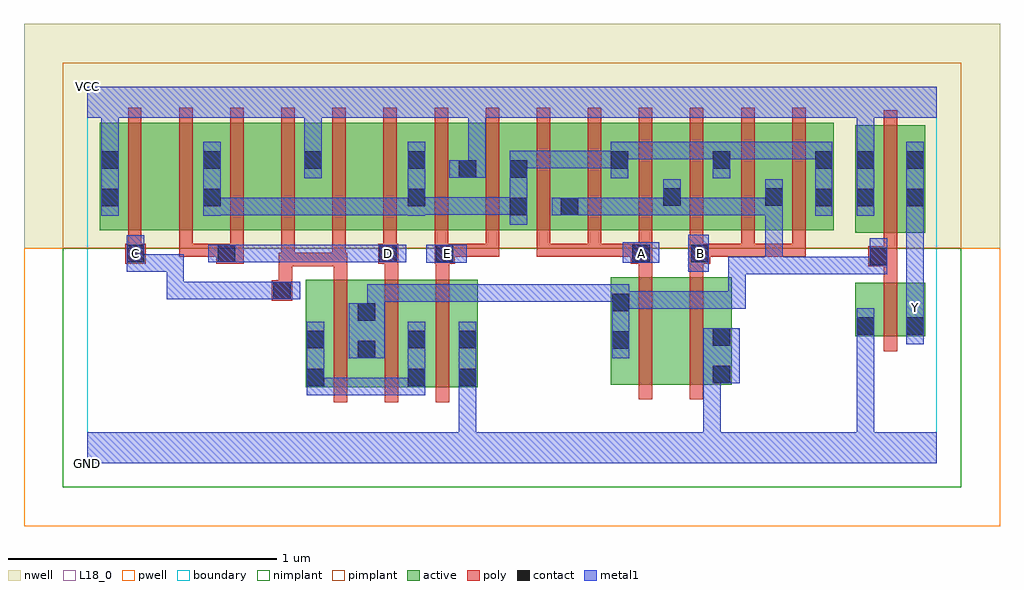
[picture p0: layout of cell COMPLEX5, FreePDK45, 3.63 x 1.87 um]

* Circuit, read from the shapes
.subckt COMPLEX5 A B C D E GND VCC Y
M1 n1 C n2 VSUBS nfet w=0.4u l=0.05u
M2 n2 D n1 VSUBS nfet w=0.4u l=0.05u
M3 GND E n2 VSUBS nfet w=0.4u l=0.05u
M4 n3 A n1 VSUBS nfet w=0.4u l=0.05u
M5 GND B n3 VSUBS nfet w=0.4u l=0.05u
M6 Y n1 GND VSUBS nfet w=0.2u l=0.05u
M7 n4 C VCC n5 pfet w=0.4u l=0.05u
M8 n6 D n4 n5 pfet w=0.4u l=0.05u
M9 n7 D n6 n5 pfet w=0.4u l=0.05u
M10 VCC C n7 n5 pfet w=0.4u l=0.05u
M11 n8 C VCC n5 pfet w=0.4u l=0.05u
M12 n6 D n8 n5 pfet w=0.4u l=0.05u
M13 VCC E n6 n5 pfet w=0.4u l=0.05u m=2
M14 n1 A n6 n5 pfet w=0.4u l=0.05u m=3
M15 n6 B n1 n5 pfet w=0.4u l=0.05u m=3
M16 Y n1 VCC n5 pfet w=0.4u l=0.05u
.ends

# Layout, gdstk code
import gdstk
lib = gdstk.Library(unit=1e-6, precision=1e-09)
def R(c, l, rs):  # rectangles x0, y0, x1, y1
    for r in rs: c.add(gdstk.rectangle(r[:2], r[2:], *l))
def A(c, l, x, y, w, h, nx, ny, dx, dy):  # array of equal rectangles
    R(c, l, [(x+i*dx, y+j*dy, x+i*dx+w, y+j*dy+h) for i in range(nx) for j in range(ny)])
active = (1, 0)
pwell = (2, 0)
nwell = (3, 0)
nimplant = (4, 0)
pimplant = (5, 0)
poly = (9, 0)
contact = (10, 0)
metal1 = (11, 0)
L18_0 = (18, 0)
boundary = (235, 0)

complex5 = lib.new_cell('COMPLEX5')
A(complex5, active, 1.187, 0.867, 0.265, 0.4, 3, 1, 0.19, 0)
A(complex5, active, 1.757, 0.867, 0.26, 0.4, 3, 1, 0.38, 0)
A(complex5, active, 1.757, 0.867, 0.075, 0.203, 3, 1, 0.38, 0)
A(complex5, active, 1.942, 0.867, 0.075, 0.333, 3, 1, 0.38, 0)
R(complex5, active, [(0.812,0.282,0.887,0.682), (0.812,0.282,1.077,0.682), (1.002,0.282,1.262,0.682), (1.187,0.282,1.452,0.682), (1.187,0.282,1.262,0.597), (1.377,0.282,1.452,0.682), (1.947,0.292,2.172,0.692), (2.172,0.292,2.397,0.692), (2.322,0.292,2.397,0.597), (1.947,0.332,2.022,0.692), (1.002,0.345,1.077,0.6), (2.857,0.472,2.932,0.672), (2.857,0.472,3.117,0.672), (3.042,0.472,3.117,0.672), (2.857,0.857,2.932,1.257), (2.857,0.857,3.117,1.257), (3.042,0.857,3.117,1.2), (0.047,0.867,0.272,1.267), (0.047,0.867,0.122,1.267), (0.272,0.867,0.502,1.267), (0.427,0.867,0.652,1.267), (0.427,0.867,0.502,1.2), (0.652,0.867,0.877,1.267), (0.802,0.867,0.877,1.267), (0.802,0.867,1.032,1.267), (1.032,0.867,1.262,1.267), (1.187,0.867,1.262,1.2), (1.377,0.867,1.452,1.267), (1.567,0.867,1.642,1.2), (1.942,0.867,2.212,1.267), (2.322,0.867,2.592,1.267)])
R(complex5, pwell, [(-0.235,-0.235,3.395,0.8)])
R(complex5, nwell, [(-0.235,0.8,3.395,1.635)])
R(complex5, nimplant, [(-0.09,-0.09,3.25,0.8)])
R(complex5, pimplant, [(-0.09,0.8,3.25,1.49)])
A(complex5, poly, 0.917, 0.227, 0.05, 0.51, 3, 1, 0.19, 0)
A(complex5, poly, 0.152, 0.767, 0.05, 0.095, 3, 1, 0.19, 0)
A(complex5, poly, 1.102, 0.767, 0.05, 0.095, 9, 1, 0.19, 0)
A(complex5, poly, 0.152, 0.812, 0.05, 0.51, 14, 1, 0.19, 0)
R(complex5, poly, [(2.052,0.237,2.102,0.747), (2.242,0.237,2.292,0.747), (2.962,0.417,3.012,0.727), (0.687,0.605,0.762,0.68), (0.712,0.63,0.762,0.68), (0.712,0.63,0.762,0.68), (0.712,0.63,0.762,0.782), (2.962,0.677,3.012,0.782), (0.917,0.687,0.967,0.782), (1.107,0.687,1.157,0.792), (1.297,0.687,1.347,0.792), (2.052,0.697,2.102,0.792), (2.242,0.697,2.292,0.792), (0.712,0.732,0.772,0.782), (0.722,0.732,0.962,0.782), (0.722,0.732,0.772,0.862), (0.912,0.732,0.962,0.782), (0.912,0.732,0.962,0.782), (0.912,0.732,0.962,0.862), (0.912,0.732,0.967,0.782), (2.905,0.732,3.012,0.807), (0.142,0.742,0.217,0.817), (0.48,0.742,0.582,0.817), (1.082,0.742,1.157,0.817), (1.292,0.742,1.367,0.817), (2.022,0.742,2.102,0.817), (2.242,0.742,2.317,0.817), (2.962,0.757,3.012,0.852), (0.342,0.767,0.392,0.817), (0.342,0.767,0.392,0.817), (0.342,0.767,0.392,0.817), (0.342,0.767,0.53,0.817), (1.317,0.767,1.532,0.817), (1.482,0.767,1.532,0.817), (1.482,0.767,1.532,0.817), (1.482,0.767,1.532,0.817), (1.672,0.767,1.722,0.817), (1.672,0.767,1.722,0.817), (1.672,0.767,1.722,0.817), (1.672,0.767,1.912,0.817), (1.862,0.767,1.912,0.817), (1.862,0.767,2.072,0.817), (2.022,0.767,2.072,0.817), (2.022,0.767,2.072,0.817), (2.267,0.767,2.482,0.817), (2.432,0.767,2.482,0.817), (2.432,0.767,2.482,0.817), (2.432,0.767,2.482,0.817), (2.432,0.767,2.672,0.817), (2.622,0.767,2.672,0.817), (2.622,0.767,2.672,0.817), (2.622,0.767,2.672,0.817), (2.962,0.802,3.012,1.312)])
A(complex5, contact, 1.947, 1.095, 0.065, 0.065, 3, 1, 0.38, 0)
R(complex5, contact, [(0.817,0.287,0.882,0.352), (1.192,0.287,1.257,0.352), (1.382,0.287,1.447,0.352), (2.327,0.297,2.392,0.362), (1.007,0.39,1.072,0.455), (1.952,0.425,2.017,0.49), (0.817,0.427,0.882,0.492), (1.192,0.427,1.257,0.492), (1.382,0.427,1.447,0.492), (2.327,0.437,2.392,0.502), (2.862,0.477,2.927,0.542), (3.047,0.477,3.112,0.542), (1.007,0.53,1.072,0.595), (1.952,0.565,2.017,0.63), (0.692,0.61,0.757,0.675), (2.91,0.737,2.975,0.802), (0.147,0.747,0.212,0.812), (0.485,0.747,0.55,0.812), (1.087,0.747,1.152,0.812), (1.297,0.747,1.362,0.812), (2.027,0.747,2.092,0.812), (2.247,0.747,2.312,0.812), (1.572,0.922,1.637,0.987), (1.762,0.922,1.827,0.987), (0.052,0.955,0.117,1.02), (0.432,0.955,0.497,1.02), (1.192,0.955,1.257,1.02), (2.707,0.955,2.772,1.02), (2.862,0.955,2.927,1.02), (3.047,0.955,3.112,1.02), (2.142,0.957,2.207,1.022), (2.522,0.957,2.587,1.022), (1.382,1.062,1.447,1.127), (1.572,1.062,1.637,1.127), (0.052,1.095,0.117,1.16), (0.432,1.095,0.497,1.16), (0.807,1.095,0.872,1.16), (1.192,1.095,1.257,1.16), (2.862,1.095,2.927,1.16), (3.047,1.095,3.112,1.16)])
R(complex5, metal1, [(0,0,3.16,0.115), (1.382,0.05,1.447,0.115), (1.382,0.05,1.447,0.115), (1.382,0.05,1.447,0.115), (1.382,0.05,1.447,0.115), (1.382,0.05,1.447,0.317), (2.292,0.05,2.357,0.115), (2.292,0.05,2.357,0.115), (2.292,0.05,2.357,0.115), (2.292,0.05,2.357,0.115), (2.292,0.05,2.357,0.362), (2.862,0.05,2.927,0.115), (2.862,0.05,2.927,0.115), (2.862,0.05,2.927,0.507), (0.817,0.252,0.882,0.527), (0.817,0.252,0.97,0.317), (0.905,0.252,0.97,0.317), (0.905,0.252,1.12,0.317), (1.055,0.252,1.12,0.317), (1.055,0.252,1.12,0.317), (1.055,0.252,1.12,0.317), (1.055,0.252,1.257,0.317), (1.192,0.252,1.257,0.527), (1.382,0.252,1.447,0.527), (2.292,0.297,2.427,0.502), (0.972,0.39,1.107,0.595), (1.952,0.39,2.017,0.665), (2.862,0.442,2.927,0.507), (2.862,0.442,2.927,0.507), (2.862,0.442,2.927,0.507), (2.862,0.442,2.927,0.507), (2.862,0.442,2.927,0.507), (2.862,0.442,2.927,0.507), (2.862,0.442,2.927,0.577), (3.047,0.442,3.112,0.577), (3.047,0.512,3.112,0.577), (3.047,0.512,3.112,0.647), (1.042,0.53,1.107,0.595), (1.042,0.53,1.107,0.665), (1.952,0.575,2.16,0.64), (2.095,0.575,2.16,0.64), (2.095,0.575,2.16,0.64), (2.095,0.575,2.16,0.64), (2.095,0.575,2.45,0.64), (2.385,0.575,2.45,0.64), (2.385,0.575,2.45,0.64), (2.385,0.575,2.45,0.64), (2.385,0.575,2.45,0.767), (3.047,0.582,3.112,0.985), (1.042,0.6,1.257,0.665), (1.192,0.6,1.257,0.665), (1.192,0.6,1.45,0.665), (1.385,0.6,1.45,0.665), (1.385,0.6,1.45,0.665), (1.385,0.6,1.45,0.665), (1.385,0.6,1.587,0.665), (1.522,0.6,1.587,0.665), (1.522,0.6,1.587,0.665), (1.522,0.6,1.587,0.665), (1.522,0.6,1.725,0.665), (1.66,0.6,1.725,0.665), (1.66,0.6,1.875,0.665), (1.81,0.6,1.875,0.665), (1.81,0.6,1.875,0.665), (1.81,0.6,1.875,0.665), (1.81,0.6,2.017,0.665), (0.295,0.61,0.36,0.675), (0.295,0.61,0.497,0.675), (0.295,0.61,0.36,0.777), (0.432,0.61,0.497,0.675), (0.432,0.61,0.635,0.675), (0.57,0.61,0.635,0.675), (0.57,0.61,0.635,0.675), (0.57,0.61,0.635,0.675), (0.57,0.61,0.722,0.675), (0.657,0.61,0.792,0.675), (2.385,0.702,2.45,0.767), (2.385,0.702,2.587,0.767), (2.522,0.702,2.587,0.767), (2.522,0.702,2.587,0.767), (2.522,0.702,2.587,0.767), (2.522,0.702,2.79,0.767), (2.522,0.702,2.587,0.987), (2.725,0.702,2.79,0.767), (2.725,0.702,2.79,0.767), (2.725,0.702,2.79,0.767), (2.725,0.702,2.975,0.767), (2.91,0.702,2.975,0.767), (2.91,0.702,2.975,0.767), (2.91,0.702,2.975,0.837), (0.147,0.712,0.212,0.777), (0.147,0.712,0.212,0.777), (0.147,0.712,0.212,0.847), (0.147,0.712,0.36,0.777), (0.295,0.712,0.36,0.777), (0.295,0.712,0.36,0.777), (0.295,0.712,0.36,0.777), (2.235,0.712,2.312,0.85), (1.262,0.745,1.412,0.812), (1.992,0.745,2.127,0.822), (0.45,0.747,0.585,0.812), (0.52,0.747,0.695,0.812), (0.63,0.747,0.695,0.812), (0.63,0.747,0.832,0.812), (0.767,0.747,0.832,0.812), (0.767,0.747,0.832,0.812), (0.767,0.747,0.832,0.812), (0.767,0.747,0.97,0.812), (0.905,0.747,0.97,0.812), (0.905,0.747,1.117,0.812), (1.052,0.747,1.117,0.812), (1.052,0.747,1.117,0.812), (1.052,0.747,1.187,0.812), (1.572,0.887,1.637,1.162), (0.052,0.92,0.117,1.195), (0.432,0.92,0.497,1.195), (1.192,0.92,1.257,1.195), (2.707,0.92,2.772,1.195), (2.862,0.92,2.927,1.195), (3.047,0.92,3.112,1.195), (0.432,0.922,0.497,0.987), (0.432,0.922,0.497,0.987), (0.432,0.922,0.635,0.987), (0.57,0.922,0.635,0.987), (0.57,0.922,0.832,0.987), (0.767,0.922,0.832,0.987), (0.767,0.922,0.832,0.987), (0.767,0.922,0.832,0.987), (0.767,0.922,0.97,0.987), (0.905,0.922,0.97,0.987), (0.905,0.922,1.107,0.987), (1.042,0.922,1.107,0.987), (1.042,0.922,1.107,0.987), (1.042,0.922,1.107,0.987), (1.042,0.922,1.257,0.987), (1.727,0.922,1.862,0.987), (1.797,0.922,1.862,0.987), (1.797,0.922,1.862,0.987), (1.797,0.922,2.022,0.987), (1.957,0.922,2.022,0.987), (1.957,0.922,2.022,0.987), (1.957,0.922,2.022,0.987), (1.957,0.922,2.207,0.987), (2.142,0.922,2.207,1.057), (2.142,0.922,2.345,0.987), (2.28,0.922,2.345,0.987), (2.28,0.922,2.345,0.987), (2.28,0.922,2.345,0.987), (2.28,0.922,2.587,0.987), (2.522,0.922,2.587,0.987), (2.522,0.922,2.587,0.987), (2.522,0.922,2.587,1.057), (1.192,0.925,1.395,0.99), (1.33,0.925,1.395,0.99), (1.33,0.925,1.395,0.99), (1.33,0.925,1.395,0.99), (1.33,0.925,1.587,0.99), (1.522,0.925,1.587,0.99), (1.522,0.925,1.637,0.99), (0.807,1.06,0.872,1.195), (1.947,1.06,2.012,1.195), (2.327,1.06,2.392,1.195), (1.347,1.062,1.482,1.127), (1.417,1.062,1.482,1.35), (1.572,1.097,1.637,1.162), (1.572,1.097,1.637,1.162), (1.572,1.097,1.725,1.162), (1.66,1.097,1.725,1.162), (1.66,1.097,1.875,1.162), (1.81,1.097,1.875,1.162), (1.81,1.097,1.875,1.162), (1.81,1.097,1.875,1.162), (1.81,1.097,2.012,1.162), (0.052,1.13,0.117,1.35), (0.807,1.13,0.872,1.35), (1.947,1.13,2.012,1.195), (1.947,1.13,2.012,1.195), (1.947,1.13,2.16,1.195), (2.095,1.13,2.16,1.195), (2.095,1.13,2.392,1.195), (2.327,1.13,2.392,1.195), (2.327,1.13,2.392,1.195), (2.327,1.13,2.635,1.195), (2.57,1.13,2.635,1.195), (2.57,1.13,2.635,1.195), (2.57,1.13,2.635,1.195), (2.57,1.13,2.772,1.195), (2.707,1.13,2.772,1.195), (2.707,1.13,2.772,1.195), (2.862,1.13,2.927,1.35), (0,1.285,3.16,1.4)])
R(complex5, L18_0, [(0,0,3.16,0.115), (1.382,0.05,1.447,0.115), (1.382,0.05,1.447,0.115), (1.382,0.05,1.447,0.115), (1.382,0.05,1.447,0.115), (1.382,0.05,1.447,0.317), (2.292,0.05,2.357,0.115), (2.292,0.05,2.357,0.115), (2.292,0.05,2.357,0.115), (2.292,0.05,2.357,0.115), (2.292,0.05,2.357,0.362), (2.862,0.05,2.927,0.115), (2.862,0.05,2.927,0.115), (2.862,0.05,2.927,0.507), (1.382,0.252,1.447,0.527), (2.292,0.297,2.427,0.502), (2.862,0.442,2.927,0.577), (2.862,0.442,2.927,0.507), (2.862,0.442,2.927,0.507), (2.862,0.442,2.927,0.507), (2.862,0.442,2.927,0.507), (2.862,0.442,2.927,0.507), (2.862,0.442,2.927,0.507), (3.047,0.442,3.112,0.577), (3.047,0.512,3.112,0.647), (3.047,0.512,3.112,0.577), (3.047,0.547,3.112,0.612), (3.047,0.582,3.112,0.985), (0.295,0.61,0.36,0.675), (0.295,0.61,0.36,0.777), (0.295,0.61,0.497,0.675), (0.432,0.61,0.497,0.675), (0.432,0.61,0.635,0.675), (0.57,0.61,0.635,0.675), (0.57,0.61,0.635,0.675), (0.57,0.61,0.635,0.675), (0.57,0.61,0.722,0.675), (0.657,0.61,0.792,0.675), (0.147,0.712,0.212,0.847), (0.147,0.712,0.212,0.777), (0.147,0.712,0.212,0.777), (0.147,0.712,0.36,0.777), (0.295,0.712,0.36,0.777), (0.295,0.712,0.36,0.777), (0.295,0.712,0.36,0.777), (2.235,0.712,2.312,0.85), (1.262,0.745,1.412,0.812), (1.992,0.745,2.127,0.822), (0.147,0.747,0.212,0.812), (0.45,0.747,0.585,0.812), (0.52,0.747,0.695,0.812), (0.63,0.747,0.695,0.812), (0.63,0.747,0.832,0.812), (0.767,0.747,0.832,0.812), (0.767,0.747,0.832,0.812), (0.767,0.747,0.832,0.812), (0.767,0.747,0.97,0.812), (0.905,0.747,0.97,0.812), (0.905,0.747,1.117,0.812), (1.052,0.747,1.117,0.812), (1.052,0.747,1.117,0.812), (1.052,0.747,1.187,0.812), (1.087,0.747,1.152,0.812), (1.307,0.747,1.372,0.812), (2.027,0.747,2.092,0.812), (2.247,0.747,2.312,0.812), (0.052,0.92,0.117,1.195), (2.862,0.92,2.927,1.195), (3.047,0.92,3.112,1.195), (0.807,1.06,0.872,1.195), (1.347,1.062,1.482,1.127), (1.417,1.062,1.482,1.35), (0.052,1.13,0.117,1.35), (0.807,1.13,0.872,1.35), (2.862,1.13,2.927,1.35), (0,1.285,3.16,1.4)])
R(complex5, boundary, [(0,0,3.16,1.4)])
complex5.add(gdstk.Label('A', (2.06,0.78), layer=11, texttype=0))
complex5.add(gdstk.Label('B', (2.28,0.78), layer=11, texttype=0))
complex5.add(gdstk.Label('C', (0.18,0.78), layer=11, texttype=0))
complex5.add(gdstk.Label('D', (1.12,0.78), layer=11, texttype=0))
complex5.add(gdstk.Label('E', (1.34,0.78), layer=11, texttype=0))
complex5.add(gdstk.Label('Y', (3.08,0.58), layer=11, texttype=0))
complex5.add(gdstk.Label('VCC', (0,1.4), layer=11, texttype=0))
complex5.add(gdstk.Label('GND', (0,0), layer=11, texttype=0))

lib.write_gds('COMPLEX5.gds')
